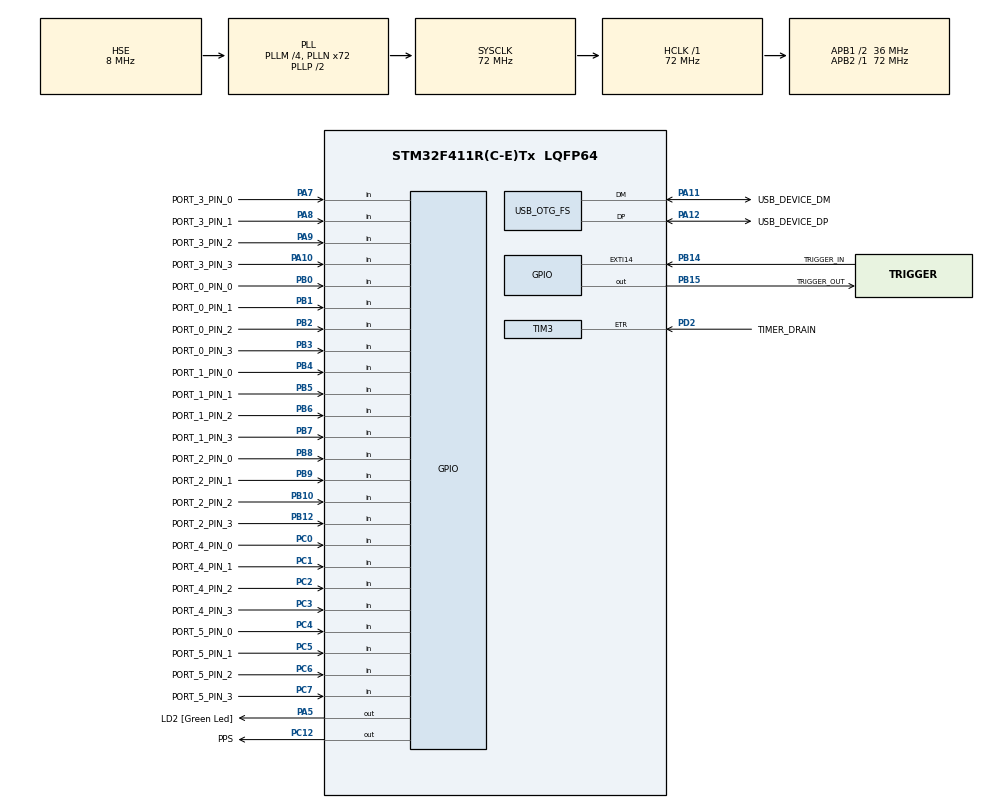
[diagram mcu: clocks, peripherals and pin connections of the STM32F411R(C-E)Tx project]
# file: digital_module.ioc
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Mcu.Family=STM32F4
Mcu.Name=STM32F411R(C-E)Tx
Mcu.Package=LQFP64
NVIC.OTG_FS_IRQn=true\:0\:0\:false\:false\:true\:false
NVIC.PriorityGroup=NVIC_PRIORITYGROUP_0
NVIC.TIM3_IRQn=true\:0\:0\:false\:true\:true\:1\:true
PA10.GPIO_Label=PORT_3_PIN_3
PA10.GPIO_PuPd=GPIO_PULLDOWN
PA10.Signal=GPIO_Input
PA11.GPIO_Label=USB_DEVICE_DM
PA11.Mode=Device_Only
PA11.Signal=USB_OTG_FS_DM
PA12.GPIO_Label=USB_DEVICE_DP
PA12.Mode=Device_Only
PA12.Signal=USB_OTG_FS_DP
PA13.GPIO_Label=TMS
PA13.Mode=Serial_Wire
PA13.Signal=SYS_JTMS-SWDIO
PA14.GPIO_Label=TCK
PA14.Mode=Serial_Wire
PA14.Signal=SYS_JTCK-SWCLK
PA5.GPIO_Label=LD2 [Green Led]
PA5.Signal=GPIO_Output
PA7.GPIO_Label=PORT_3_PIN_0
PA7.GPIO_PuPd=GPIO_PULLDOWN
PA7.Signal=GPIO_Input
PA8.GPIO_Label=PORT_3_PIN_1
PA8.GPIO_PuPd=GPIO_PULLDOWN
PA8.Signal=GPIO_Input
PA9.GPIO_Label=PORT_3_PIN_2
PA9.GPIO_PuPd=GPIO_PULLDOWN
PA9.Signal=GPIO_Input
PB0.GPIO_Label=PORT_0_PIN_0
PB0.GPIO_PuPd=GPIO_PULLDOWN
PB0.Signal=GPIO_Input
PB1.GPIO_Label=PORT_0_PIN_1
PB1.GPIO_PuPd=GPIO_PULLDOWN
PB1.Signal=GPIO_Input
PB10.GPIO_Label=PORT_2_PIN_2
PB10.GPIO_PuPd=GPIO_PULLDOWN
PB10.Signal=GPIO_Input
PB12.GPIO_Label=PORT_2_PIN_3
PB12.GPIO_PuPd=GPIO_PULLDOWN
PB12.Signal=GPIO_Input
PB14.GPIO_Label=TRIGGER_IN
PB14.GPIO_PuPd=GPIO_PULLDOWN
PB14.Signal=GPXTI14
PB15.GPIO_Label=TRIGGER_OUT
PB15.GPIO_ModeDefaultOutputPP=GPIO_MODE_OUTPUT_PP
PB15.Signal=GPIO_Output
PB2.GPIO_Label=PORT_0_PIN_2
PB2.GPIO_PuPd=GPIO_PULLDOWN
PB2.Signal=GPIO_Input
PB3.GPIO_Label=PORT_0_PIN_3
PB3.GPIO_PuPd=GPIO_PULLDOWN
PB3.Signal=GPIO_Input
PB4.GPIO_Label=PORT_1_PIN_0
PB4.GPIO_PuPd=GPIO_PULLDOWN
PB4.Signal=GPIO_Input
PB5.GPIO_Label=PORT_1_PIN_1
PB5.GPIO_PuPd=GPIO_PULLDOWN
PB5.Signal=GPIO_Input
PB6.GPIO_Label=PORT_1_PIN_2
PB6.GPIO_PuPd=GPIO_PULLDOWN
PB6.Signal=GPIO_Input
PB7.GPIO_Label=PORT_1_PIN_3
PB7.GPIO_PuPd=GPIO_PULLDOWN
PB7.Signal=GPIO_Input
PB8.GPIO_Label=PORT_2_PIN_0
PB8.GPIO_PuPd=GPIO_PULLDOWN
PB8.Signal=GPIO_Input
PB9.GPIO_Label=PORT_2_PIN_1
PB9.GPIO_PuPd=GPIO_PULLDOWN
PB9.Signal=GPIO_Input
PC0.GPIO_Label=PORT_4_PIN_0
PC0.GPIO_PuPd=GPIO_PULLDOWN
PC0.Signal=GPIO_Input
PC1.GPIO_Label=PORT_4_PIN_1
PC1.GPIO_PuPd=GPIO_PULLDOWN
PC1.Signal=GPIO_Input
PC12.GPIO_Label=PPS
PC12.GPIO_PuPd=GPIO_PULLDOWN
PC12.Signal=GPIO_Output
PC14-OSC32_IN.Mode=LSE-External-Oscillator
PC14-OSC32_IN.Signal=RCC_OSC32_IN
PC15-OSC32_OUT.Mode=LSE-External-Oscillator
PC15-OSC32_OUT.Signal=RCC_OSC32_OUT
PC2.GPIO_Label=PORT_4_PIN_2
PC2.GPIO_PuPd=GPIO_PULLDOWN
PC2.Signal=GPIO_Input
PC3.GPIO_Label=PORT_4_PIN_3
PC3.GPIO_PuPd=GPIO_PULLDOWN
PC3.Signal=GPIO_Input
PC4.GPIO_Label=PORT_5_PIN_0
PC4.GPIO_PuPd=GPIO_PULLDOWN
PC4.Signal=GPIO_Input
PC5.GPIO_Label=PORT_5_PIN_1
PC5.GPIO_PuPd=GPIO_PULLDOWN
PC5.Signal=GPIO_Input
PC6.GPIO_Label=PORT_5_PIN_2
PC6.GPIO_PuPd=GPIO_PULLDOWN
PC6.Signal=GPIO_Input
PC7.GPIO_Label=PORT_5_PIN_3
PC7.GPIO_PuPd=GPIO_PULLDOWN
PC7.Signal=GPIO_Input
PD2.GPIO_Label=TIMER_DRAIN
PD2.GPIO_PuPd=GPIO_PULLDOWN
PD2.Signal=S_TIM3_ETR
PH0\ -\ OSC_IN.Mode=HSE-External-Clock-Source
PH0\ -\ OSC_IN.Signal=RCC_OSC_IN
PH1\ -\ OSC_OUT.Mode=HSE-External-Clock-Source
PH1\ -\ OSC_OUT.Signal=RCC_OSC_OUT
ProjectManager.HeapSize=0x200
ProjectManager.StackSize=0x400
ProjectManager.TargetToolchain=TrueSTUDIO
RCC.48MHZClocksFreq_Value=48000000
RCC.AHBFreq_Value=72000000
RCC.APB1CLKDivider=RCC_HCLK_DIV2
RCC.APB1Freq_Value=36000000
RCC.APB1TimFreq_Value=72000000
RCC.APB2Freq_Value=72000000
RCC.APB2TimFreq_Value=72000000
RCC.CortexFreq_Value=72000000
RCC.FLatency-AdvancedSettings=FLASH_LATENCY_2
RCC.HCLKFreq_Value=72000000
RCC.HSE_VALUE=8000000
RCC.HSI_VALUE=16000000
RCC.PLLM=4
RCC.PLLN=72
RCC.PLLQ=3
RCC.RCC_RTC_Clock_Source=RCC_RTCCLKSOURCE_LSE
RCC.RCC_RTC_Clock_SourceVirtual=RCC_RTCCLKSOURCE_LSE
RCC.SYSCLKFreq_VALUE=72000000
RCC.SYSCLKSource=RCC_SYSCLKSOURCE_PLLCLK
RCC.VCOOutputFreq_Value=144000000
SH.S_TIM3_ETR.0=TIM3_ETR,ClockSourceETR_Mode2
TIM3.ClockDivision=TIM_CLOCKDIVISION_DIV1
TIM3.Period=4
TIM3.Prescaler=0
TIM3.TIM_MasterOutputTrigger=TIM_TRGO_UPDATE
USB_DEVICE.CLASS_NAME_FS=CUSTOMHID
USB_DEVICE.VirtualMode=CustomHid
USB_DEVICE.VirtualModeFS=Custom_Hid_FS
USB_OTG_FS.VirtualMode=Device_Only
VP_TIM9_VS_ControllerModeClock.Mode=Clock Mode
VP_USB_DEVICE_VS_USB_DEVICE_CUSTOM_HID_FS.Mode=CUSTOM_HID_FS
board=NUCLEO-F411RE

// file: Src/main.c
/**
  ******************************************************************************
  * @file           : main.c
  * @brief          : Main program body
  ******************************************************************************
  * This notice applies to any and all portions of this file
  * that are not between comment pairs USER CODE BEGIN and
  * USER CODE END. Other portions of this file, whether
  * inserted by the user or by software development tools
  * are owned by their respective copyright owners.
  *
  * Copyright (c) 2018 STMicroelectronics International N.V.
  * All rights reserved.
  *
  * Redistribution and use in source and binary forms, with or without
  * modification, are permitted, provided that the following conditions are met:
  *
  * 1. Redistribution of source code must retain the above copyright notice,
  *    this list of conditions and the following disclaimer.
  * 2. Redistributions in binary form must reproduce the above copyright notice,
  *    this list of conditions and the following disclaimer in the documentation
  *    and/or other materials provided with the distribution.
  * 3. Neither the name of STMicroelectronics nor the names of other
  *    contributors to this software may be used to endorse or promote products
  *    derived from this software without specific written permission.
  * 4. This software, including modifications and/or derivative works of this
  *    software, must execute solely and exclusively on microcontroller or
  *    microprocessor devices manufactured by or for STMicroelectronics.
  * 5. Redistribution and use of this software other than as permitted under
  *    this license is void and will automatically terminate your rights under
  *    this license.
  *
  * THIS SOFTWARE IS PROVIDED BY STMICROELECTRONICS AND CONTRIBUTORS "AS IS"
  * AND ANY EXPRESS, IMPLIED OR STATUTORY WARRANTIES, INCLUDING, BUT NOT
  * LIMITED TO, THE IMPLIED WARRANTIES OF MERCHANTABILITY, FITNESS FOR A
  * PARTICULAR PURPOSE AND NON-INFRINGEMENT OF THIRD PARTY INTELLECTUAL PROPERTY
  * RIGHTS ARE DISCLAIMED TO THE FULLEST EXTENT PERMITTED BY LAW. IN NO EVENT
  * SHALL STMICROELECTRONICS OR CONTRIBUTORS BE LIABLE FOR ANY DIRECT, INDIRECT,
  * INCIDENTAL, SPECIAL, EXEMPLARY, OR CONSEQUENTIAL DAMAGES (INCLUDING, BUT NOT
  * LIMITED TO, PROCUREMENT OF SUBSTITUTE GOODS OR SERVICES; LOSS OF USE, DATA,
  * OR PROFITS; OR BUSINESS INTERRUPTION) HOWEVER CAUSED AND ON ANY THEORY OF
  * LIABILITY, WHETHER IN CONTRACT, STRICT LIABILITY, OR TORT (INCLUDING
  * NEGLIGENCE OR OTHERWISE) ARISING IN ANY WAY OUT OF THE USE OF THIS SOFTWARE,
  * EVEN IF ADVISED OF THE POSSIBILITY OF SUCH DAMAGE.
  *
  ******************************************************************************
  */
#include "main.h"
#include "stm32f4xx_hal.h"
#include "tim.h"
#include "usb_device.h"
#include "gpio.h"

/* USER CODE BEGIN Includes */
#include "usbd_customhid.h"
#include "usbd_custom_hid_if.h"
#include "usbd_digital_io.h"
/* USER CODE END Includes */

/* USER CODE BEGIN PV */
/* Private variables ---------------------------------------------------------*/

/* USER CODE END PV */

void SystemClock_Config(void);
static void MX_NVIC_Init(void);

/* USER CODE BEGIN PFP */
/* Private function prototypes -----------------------------------------------*/
void USB_RX_Interrupt(void);
/* USER CODE END PFP */

/* USER CODE BEGIN 0 */
uint8_t input_report[11] = {1};
uint8_t output_report[64] = {0};
MAIN_STATE main_state = MAIN_STATE_NORMAL;
uint8_t trig_event_to_delete = 0;
/* USER CODE END 0 */

int main(void)
{
  /* USER CODE BEGIN 1 */
	uint8_t i = 0;
  /* USER CODE END 1 */

  /* MCU Configuration----------------------------------------------------------*/

  /* Reset of all peripherals, Initializes the Flash interface and the Systick. */
  HAL_Init();

  /* Configure the system clock */
  SystemClock_Config();

  /* Initialize all configured peripherals */
  MX_GPIO_Init();
  MX_USB_DEVICE_Init();
  MX_TIM3_Init();
  MX_TIM9_Init();

  /* Initialize interrupts */
  MX_NVIC_Init();
  /* USER CODE BEGIN 2 */
  USBD_HID_Digital_IO_Init(&digital_io);
  USBD_HID_Digital_IO_Init(&digital_io_new_state);
  USBD_HID_Digital_IO_Reset_SwitchTrig();
  for (i = 0; i < DIGITAL_IO_MAX_TRIG_NUM; i++)
  {
	  USBD_HID_Digital_IO_Reset_Trigger_Event(&digital_io_trig_events[i]);
  }
  HAL_TIM_Base_Start_IT(&htim3);
  /* USER CODE END 2 */

  /* Infinite loop */
  /* USER CODE BEGIN WHILE */
  while (1)
  {
	if (main_state == MAIN_STATE_NORMAL)
	{
		// Read GPIO pins and test trigger events
		USBD_HID_Digital_IO_Read();

		for(i = 0; i < DIGITAL_IO_MAX_TRIG_NUM; i++)
		{
			if(digital_io_do_trigger != TRIGGERED)
			{
				digital_io_do_trigger = USBD_HID_Digital_IO_Check_Trigger_Event(digital_io_trig_events, i);
				if (digital_io_do_trigger == TRIGGERED)
				{
					trig_event_to_delete = i;
				}
			}
		}

		if(digital_io_do_trigger == TRIGGERED)
		{
			HAL_GPIO_WritePin(TRIGGER_OUT_GPIO_Port, TRIGGER_OUT_Pin, GPIO_PIN_SET);
			digital_io_do_trigger = DO_TRIGGER;
			USBD_HID_Digital_IO_Reset_Trigger_Event(&digital_io_trig_events[trig_event_to_delete]);
		}

		// Create and send digital IO report
		if (digital_io_report_flag == SEND_REPORT)
		{
		  USBD_HID_Digital_IO_CreateReport((uint8_t*)&input_report);
		  USBD_CUSTOM_HID_SendReport(&hUsbDeviceFS,(uint8_t*)&input_report, 11);
		  digital_io_report_flag = NO_REPORT;
		}

		// Store digital IO changes
		if (digital_io_change_flag == CHANGED)
		{
			USBD_HID_Digital_IO_Init(&digital_io_new_state);
			USBD_HID_Digital_IO_Set_Changes(output_report);
			digital_io_change_flag = UNCHANGED;
			digital_io_change_enable = 1;
		}

		// Enforce settings of the pins
		if (digital_io_trigger == TRIGGERED)
		{
			USBD_HID_Digital_IO_SwitchPorts();
			USBD_HID_Digital_IO_Init(&digital_io_new_state);
			USBD_HID_Digital_IO_Reset_SwitchTrig();
			digital_io_trigger = DONTCARE;
			digital_io_change_enable = 0;
		}
	}
	if (main_state == MAIN_STATE_SYNC)
	{
		// TODO
	}
  /* USER CODE END WHILE */

  }

}

void SystemClock_Config(void)
{

  RCC_OscInitTypeDef RCC_OscInitStruct;
  RCC_ClkInitTypeDef RCC_ClkInitStruct;

    /**Configure the main internal regulator output voltage
    */
  __HAL_RCC_PWR_CLK_ENABLE();

  __HAL_PWR_VOLTAGESCALING_CONFIG(PWR_REGULATOR_VOLTAGE_SCALE1);

    /**Initializes the CPU, AHB and APB busses clocks
    */
  RCC_OscInitStruct.OscillatorType = RCC_OSCILLATORTYPE_HSE;
  RCC_OscInitStruct.HSEState = RCC_HSE_BYPASS;
  RCC_OscInitStruct.PLL.PLLState = RCC_PLL_ON;
  RCC_OscInitStruct.PLL.PLLSource = RCC_PLLSOURCE_HSE;
  RCC_OscInitStruct.PLL.PLLM = 4;
  RCC_OscInitStruct.PLL.PLLN = 72;
  RCC_OscInitStruct.PLL.PLLP = RCC_PLLP_DIV2;
  RCC_OscInitStruct.PLL.PLLQ = 3;
  if (HAL_RCC_OscConfig(&RCC_OscInitStruct) != HAL_OK)
  {
    _Error_Handler(__FILE__, __LINE__);
  }

    /**Initializes the CPU, AHB and APB busses clocks
    */
  RCC_ClkInitStruct.ClockType = RCC_CLOCKTYPE_HCLK|RCC_CLOCKTYPE_SYSCLK
                              |RCC_CLOCKTYPE_PCLK1|RCC_CLOCKTYPE_PCLK2;
  RCC_ClkInitStruct.SYSCLKSource = RCC_SYSCLKSOURCE_PLLCLK;
  RCC_ClkInitStruct.AHBCLKDivider = RCC_SYSCLK_DIV1;
  RCC_ClkInitStruct.APB1CLKDivider = RCC_HCLK_DIV2;
  RCC_ClkInitStruct.APB2CLKDivider = RCC_HCLK_DIV1;

  if (HAL_RCC_ClockConfig(&RCC_ClkInitStruct, FLASH_LATENCY_2) != HAL_OK)
  {
    _Error_Handler(__FILE__, __LINE__);
  }

    /**Configure the Systick interrupt time
    */
  HAL_SYSTICK_Config(HAL_RCC_GetHCLKFreq()/1000);

    /**Configure the Systick
    */
  HAL_SYSTICK_CLKSourceConfig(SYSTICK_CLKSOURCE_HCLK);

  /* SysTick_IRQn interrupt configuration */
  HAL_NVIC_SetPriority(SysTick_IRQn, 0, 0);
}

/**
  * @brief NVIC Configuration.
  * @retval None
  */
static void MX_NVIC_Init(void)
{
  /* TIM3_IRQn interrupt configuration */
  HAL_NVIC_SetPriority(TIM3_IRQn, 0, 0);
  HAL_NVIC_EnableIRQ(TIM3_IRQn);
}

/* USER CODE BEGIN 4 */

void USB_RX_Interrupt(void)
{
	uint8_t i;
	HID_Digital_IO_Output length = LENGTH_NOTHING;
	USBD_CUSTOM_HID_HandleTypeDef *myusb=(USBD_CUSTOM_HID_HandleTypeDef *)hUsbDeviceFS.pClassData;

	//Clear arr
	for(i=0;i<64;i++)
	{
		output_report[i]=0;
	}

	// First byte contains numbers of datas in byte length
	length = myusb->Report_buf[0];

	// Copy the output report
	for( i = 0; i < length; i++ )
	{
		output_report[i]=myusb->Report_buf[i+1];
	}

	// Handle report based on the length
	switch (length)
	{
		case LENGTH_NOTHING:
			break;
		case LENGTH_TRIGGER_EVENT:
			USBD_HID_Digital_IO_Process_Trigger_Event(output_report, digital_io_trig_events);
			break;
		case LENGTH_TRIGGER:
			// Defend to the multiple triggering
			if (digital_io_change_enable)
			{
				USBD_HID_Digital_IO_Trigger(output_report);
			}
			break;
		case LENGTH_SYNC:
			// Handle sync method, disable other tasks
			break;
		case LENGTH_DIGITAL_IO:
			digital_io_change_flag = CHANGED;
			break;
		case LENGTH_DATETIME:
			// Handle date- and timestamp
			break;
		default:
			break;
	}

	// Test answer
	/*HAL_GPIO_WritePin(LD2_GPIO_Port, LD2_Pin, GPIO_PIN_RESET);
	input_report[1] = 1;
	USBD_CUSTOM_HID_SendReport(&hUsbDeviceFS,(uint8_t*)&input_report, 11);*/
}

/* USER CODE END 4 */

void _Error_Handler(char *file, int line)
{
  while(1)
  {
  }
}

/************************ (C) COPYRIGHT STMicroelectronics *****END OF FILE****/
